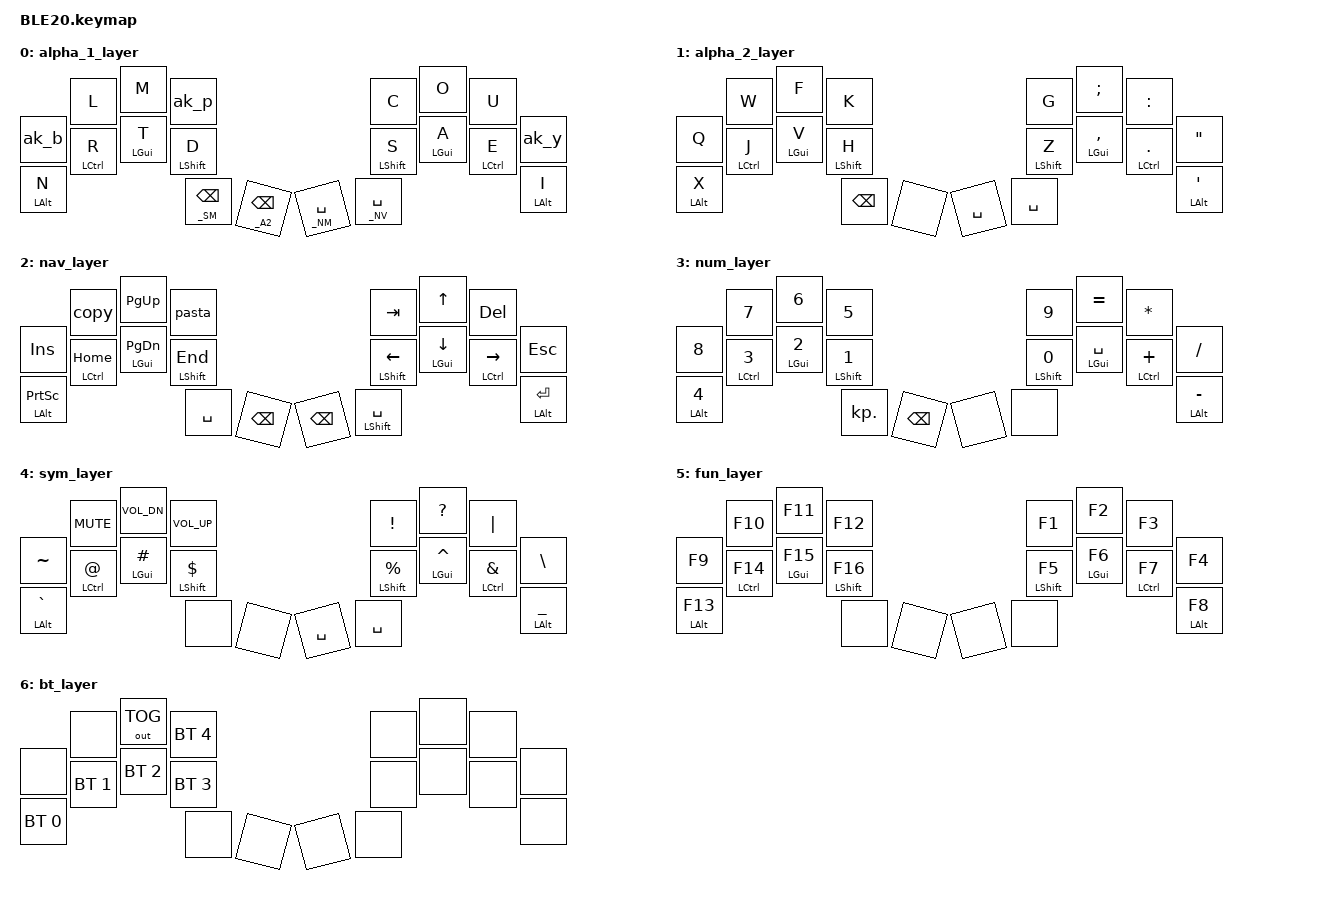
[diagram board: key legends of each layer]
/*
 * Copyright (c) 2021 The ZMK Contributors
 *
 * SPDX-License-Identifier: MIT
 */

#include <behaviors.dtsi>
#include <dt-bindings/zmk/keys.h>
#include <dt-bindings/zmk/bt.h>
#include <dt-bindings/zmk/outputs.h>
#include "keypos_20keys.h"
#include <dt-bindings/zmk/pointing.h>
#include <dt-bindings/zmk/mouse.h>


#define _A1      0
#define _A2      1
#define _NV      2
#define _NM      3
#define _SM      4
#define _FS      5
#define _BT      6


&sk {
    release-after-ms = <1000>;
    quick-release;
};

/ {
// ------------------------- MACROS --------------------------------
    macros {
        mlc_ou: macro_ou {
            compatible = "zmk,behavior-macro";
            #binding-cells = <0>;
            wait-ms = <0>;
            tap-ms = <5>;
            bindings
                = <&kp O>
                , <&kp U>
                ;
        };
    };

    combos {
        compatible = "zmk,combos";
// ------------------------- LAYER COMBOS --------------------------------
        combo_BOOT {
            timeout-ms = <40>;
            key-positions = <LOT LIT LTP LBP>;
            bindings = <&bootloader>;
        };

        combo_BT_CLR {
            timeout-ms = <40>;
            key-positions = <LTP LTR>;
            bindings = <&bt BT_CLR>;
            layers = <_BT>;
        };

        combo_BT {
            timeout-ms = <50>;
            key-positions = <LOT LIT>;
            bindings = <&mo _BT>;
            require-prior-idle-ms = <200>;
        };

        combo_UNLOCK {
            timeout-ms = <50>;
            key-positions = <ROT RIT>;
            bindings = <&studio_unlock>;
        };

        combo_FUN {
            timeout-ms = <50>;
            key-positions = <LIT RIT>;
            bindings = <&mo _FS>;
            require-prior-idle-ms = <200>;
        };

        combo_NAV {
            timeout-ms = <50>;
            key-positions = <RBI RBM RBR>;
            bindings = <&to _NV>;
            require-prior-idle-ms = <300>;
            layers = <_A1>;
        };

        combo_NUM {
            timeout-ms = <50>;
            key-positions = <LBI LBM LBR>;
            bindings = <&to _NM>;
            require-prior-idle-ms = <300>;
            layers = <_A1>;
        };

        combo_BASER {
            timeout-ms = <50>;
            key-positions = <RBI RBM RBR>;
            bindings = <&to _A1>;
            require-prior-idle-ms = <300>;
            layers = <_NV _NM>;
        };

        combo_BASEL {
            timeout-ms = <50>;
            key-positions = <LBI LBM LBR>;
            bindings = <&to _A1>;
            require-prior-idle-ms = <300>;
            layers = <_NV _NM>;
        };

// ------------------------- VOLUME COMBOS --------------------------------
        // combo_V_UP {
        //     timeout-ms = <40>;
        //     key-positions = <LTI LTM>;
        //     bindings = <&kp C_VOL_UP>;
        //     require-prior-idle-ms = <200>;
        //     layers = <_A1>;
        // };

        // combo_V_DN {
        //     timeout-ms = <40>;
        //     key-positions = <LBM LBI>;
        //     bindings = <&kp C_VOL_DN>;
        //     require-prior-idle-ms = <200>;
        //     layers = <_A1>;
        // };

        // combo_MUTE {
        //     timeout-ms = <50>;
        //     key-positions = <LTI LTM>;
        //     bindings = <&kp C_MUTE>;
        //     layers = <_SM>;
        // };

        // combo_ESC {
        //     timeout-ms = <50>;
        //     key-positions = <LTP LTR>;
        //     bindings = <&kp ESC>;
        //     require-prior-idle-ms = <200>;
        // };

        // combo_BSPC {
        //     timeout-ms = <50>;
        //     key-positions = <RBI RBM RBR>;
        //     bindings = <&kp BSPC>;
        //     layers = <_A1>;
        // };



// ------------------------- MODS COMBOS --------------------------------
        combo_CAPS {
            timeout-ms = <60>;
            key-positions = <LTI RTI>;
            bindings = <&caps_word>;
            require-prior-idle-ms = <250>;
            layers = <_A1 _A2>;
        };

        combo_SHIFT {
            timeout-ms = <60>;
            key-positions = <LBI RBI>;
            bindings = <&sk LSHIFT>;
            require-prior-idle-ms = <100>;
            layers = <_A1 _A2>;
        };

        // combo_RALTL {
        //     timeout-ms = <40>;
        //     key-positions = <LMP LTP>;
        //     bindings = <&kp RALT>;
        //     require-prior-idle-ms = <200>;
        //     //layers = <_BASE>;
        // };

        // combo_RALTR {
        //     timeout-ms = <40>;
        //     key-positions = <LMP RTP>;
        //     bindings = <&kp RALT>;
        //     require-prior-idle-ms = <200>;
        //     //layers = <_BASE>;
        // };

// ------------------------- CHARACTER COMBOS --------------------------------
        combo_OU {
            timeout-ms = <300>;
            key-positions = <RTM RTR>;
            bindings = <&mlc_ou>;
            layers = <_A1>;
        };

        combo_0 {
            timeout-ms = <55>;
            key-positions = <LBI LBM>;
            bindings = <&kp N0>;
            layers = <_NM>;
        };

        combo_9 {
            timeout-ms = <55>;
            key-positions = <LTI LTM>;
            bindings = <&kp N9>;
            layers = <_NM>;
        };

        // combo_THE {
        //     timeout-ms = <50>;
        //     key-positions = <LBI LBM LBR>;
        //     bindings = <&mm_the>;
        //     layers = <_A1>;
        // };

        // combo_COMMA {
        //     timeout-ms = <60>;
        //     key-positions = <RBM LIT>;
        //     bindings = <&kp COMMA>;
        //     layers = <_A1>;
        // };

        // combo_DOT {
        //     timeout-ms = <60>;
        //     key-positions = <RBR LIT>;
        //     bindings = <&kp DOT>;
        //     layers = <_A1>;
        // };

        // combo_QMARK {
        //     timeout-ms = <60>;
        //     key-positions = <RBP LIT>;
        //     bindings = <&kp QMARK>;
        //     layers = <_A1>;
        // };

        // combo_SEMI {
        //     timeout-ms = <60>;
        //     key-positions = <RTM LIT>;
        //     bindings = <&kp SEMI>;
        //     layers = <_A1>;
        // };

        // combo_COLON {
        //     timeout-ms = <60>;
        //     key-positions = <RTR LIT>;
        //     bindings = <&kp COLON>;
        //     layers = <_A1>;
        // };

        combo_MINUS {
            timeout-ms = <55>;
            key-positions = <RBM RBR>;
            bindings = <&kp MINUS>;
            layers = <_A1 _A2 _NM>;
        };

        combo_EXCL {
            timeout-ms = <50>;
            key-positions = <RTI RTM>;
            bindings = <&kp EXCL>;
            require-prior-idle-ms = <150>;
            layers = <_A1 _A2>;
        };

        combo_QMARK {
            timeout-ms = <50>;
            key-positions = <RBM RBI>;
            bindings = <&kp QMARK>;
            require-prior-idle-ms = <150>;
            layers = <_A1 _A2>;
        };

        combo_LPAR {
            timeout-ms = <60>;
            key-positions = <LBI LIT>;
            bindings = <&kp LPAR>;
            layers = <_A1>;
        };

        combo_RPAR {
            timeout-ms = <60>;
            key-positions = <RBI RIT>;
            bindings = <&kp RPAR>;
            layers = <_A1>;
        };

        combo_LBRC {
            timeout-ms = <60>;
            key-positions = <LBM LIT>;
            bindings = <&kp LBRC>;
            layers = <_A1>;
        };

        combo_RBRC {
            timeout-ms = <60>;
            key-positions = <RBM RIT>;
            bindings = <&kp RBRC>;
            layers = <_A1>;
        };

        combo_LBKT {
            timeout-ms = <60>;
            key-positions = <LBR LIT>;
            bindings = <&kp LBKT>;
            layers = <_A1>;
        };

        combo_RBKT {
            timeout-ms = <60>;
            key-positions = <RBR RIT>;
            bindings = <&kp RBKT>;
            layers = <_A1>;
        };

        combo_LT {
            timeout-ms = <60>;
            key-positions = <LBP LIT>;
            bindings = <&kp LT>;
            layers = <_A1>;
        };

        combo_GT {
            timeout-ms = <60>;
            key-positions = <RBP RIT>;
            bindings = <&kp GT>;
            layers = <_A1>;
        };

        // combo_PSCRN {
        //     timeout-ms = <40>;
        //     key-positions = <LBR LBI>;
        //     bindings = <&kp PSCRN>;
        //     layers = <_BASE _NAV>;
        //     require-prior-idle-ms = <200>;
        // };

        // combo_CP_M {
        //     timeout-ms = <40>;
        //     key-positions = <RTC RMC>;
        //     bindings = <&mac_cp>;
        //     layers = <_NAV>;
        //     require-prior-idle-ms = <200>;
        // };

        // combo_CP_W {
        //     timeout-ms = <40>;
        //     key-positions = <LTC LMC>;
        //     bindings = <&win_cp>;
        //     layers = <_NAV>;
        //     require-prior-idle-ms = <200>;
        // };

        // combo_PASTA_M {
        //     timeout-ms = <40>;
        //     key-positions = <RBM RBR>;
        //     bindings = <&kp LG(V)>;
        //     layers = <_BASE>;
        //     require-prior-idle-ms = <200>;
        // };

        // combo_PASTA_W {
        //     timeout-ms = <40>;
        //     key-positions = <LBM LBR>;
        //     bindings = <&kp LC(V)>;
        //     layers = <_BASE>;
        //     require-prior-idle-ms = <200>;
        // };

        // combo_FSLH {
        //     timeout-ms = <45>;
        //     key-positions = <RMM RMR>;
        //     bindings = <&kp FSLH>;
        //     layers = <_BASE _SYM>;
        // };

        // combo_BSLH {
        //     timeout-ms = <45>;
        //     key-positions = <LMR LMM>;
        //     bindings = <&kp BSLH>;
        //     layers = <_BASE _SYM>;
        // };
    };

    behaviors {
// ----------------------- ADAPTIVE-KEYS ------------------------------- 
        ak_bspc: ak_bspc {
            compatible = "zmk,behavior-adaptive-key";
            #binding-cells = <0>;
            bindings = <&sl _A2>;

            akt_bspc { trigger-keys = <BSPC>; max-prior-idle-ms = <250>; bindings = <&kp BSPC>; };
        };


        ak_d: ak_d {
            compatible = "zmk,behavior-adaptive-key";
            #binding-cells = <0>;
            bindings = <&kp D>;

            akt_th { trigger-keys = <T>; max-prior-idle-ms = <250>; bindings = <&kp H>; };
            akt_ch { trigger-keys = <C>; max-prior-idle-ms = <300>; bindings = <&kp H>; };
            akt_wh { trigger-keys = <W>; max-prior-idle-ms = <300>; bindings = <&kp H>; };
            akt_sh { trigger-keys = <S>; max-prior-idle-ms = <300>; bindings = <&kp H>; };
            akt_gh { trigger-keys = <G>; max-prior-idle-ms = <300>; bindings = <&kp H>; };

            akt_br { trigger-keys = <B>; max-prior-idle-ms = <300>; bindings = <&kp R>; };
        };

        ak_b: ak_b {
            compatible = "zmk,behavior-adaptive-key";
            #binding-cells = <0>;
            bindings = <&kp B>;

            akt_ph { trigger-keys = <P>; max-prior-idle-ms = <300>; bindings = <&kp H>; };

            akt_rv { trigger-keys = <R>; max-prior-idle-ms = <300>; bindings = <&kp V>; };
            akt_sv { trigger-keys = <S>; max-prior-idle-ms = <300>; bindings = <&kp V>; };
            akt_dv { trigger-keys = <D>; max-prior-idle-ms = <300>; bindings = <&kp V>; };
            akt_tv { trigger-keys = <T>; max-prior-idle-ms = <300>; bindings = <&kp V>; };
            akt_kv { trigger-keys = <K>; max-prior-idle-ms = <300>; bindings = <&kp V>; };
        };

        ak_r: ak_r {
            compatible = "zmk,behavior-adaptive-key";
            #binding-cells = <0>;
            bindings = <&kp R>;

            akt_ng { trigger-keys = <N>; max-prior-idle-ms = <300>; bindings = <&kp G>; };

            akt_sk { trigger-keys = <S>; max-prior-idle-ms = <300>; bindings = <&kp K>; };
        };

        ak_t: ak_t {
            compatible = "zmk,behavior-adaptive-key";
            #binding-cells = <0>;
            bindings = <&kp T>;

            akt_dz { trigger-keys = <D>; max-prior-idle-ms = <300>; bindings = <&kp Z>; };
        };

        ak_p: ak_p {
            compatible = "zmk,behavior-adaptive-key";
            #binding-cells = <0>;
            bindings = <&kp P>;

            akt_nk { trigger-keys = <N>; max-prior-idle-ms = <300>; bindings = <&kp K>; };
            akt_lk { trigger-keys = <L>; max-prior-idle-ms = <300>; bindings = <&kp K>; };
            akt_ck { trigger-keys = <C>; max-prior-idle-ms = <300>; bindings = <&kp K>; };
            akt_tk { trigger-keys = <T>; max-prior-idle-ms = <300>; bindings = <&kp K>; };
            akt_rk { trigger-keys = <R>; max-prior-idle-ms = <300>; bindings = <&kp K>; };

            akt_kl { trigger-keys = <K>; max-prior-idle-ms = <300>; bindings = <&kp L>; };
            akt_gl { trigger-keys = <G>; max-prior-idle-ms = <300>; bindings = <&kp L>; };

            akt_bn { trigger-keys = <B>; max-prior-idle-ms = <300>; bindings = <&kp N>; };
        };

        ak_y: ak_y {
            compatible = "zmk,behavior-adaptive-key";
            #binding-cells = <0>;
            bindings = <&kp Y>;

            akt_ue { trigger-keys = <U>; max-prior-idle-ms = <300>; bindings = <&kp E>; };
        };

// ------------------------- TAP-DANCES --------------------------------
        copy: copy {
            compatible = "zmk,behavior-tap-dance";
            #binding-cells = <0>;
            tapping-term-ms = <300>;
            bindings = <&kp LG(C)>, <&kp LC(C)>;
        };

        pasta: pasta {
            compatible = "zmk,behavior-tap-dance";
            #binding-cells = <0>;
            tapping-term-ms = <300>;
            bindings = <&kp LG(V)>, <&kp LC(V)>;
        };

// ------------------------- HOLD-TAPS --------------------------------
        /* left-hand HRMs */
        hml: hrm_left {
            compatible = "zmk,behavior-hold-tap";
            #binding-cells = <2>;
            flavor = "tap-preferred";
            tapping-term-ms = <300>;
            quick-tap-ms = <170>;                // repeat on tap-into-hold
            require-prior-idle-ms = <120>;
            bindings = <&kp>, <&kp>;
            hold-trigger-key-positions = <KEYS_R THUMBS>;
            hold-trigger-on-release;             // delay positional check until key-release
        };

        /* right-hand HRMs */
        hmr: hrm_right {
            compatible = "zmk,behavior-hold-tap";
            #binding-cells = <2>;
            flavor = "tap-preferred";
            tapping-term-ms = <300>;
            quick-tap-ms = <170>;                // repeat on tap-into-hold
            require-prior-idle-ms = <120>;
            bindings = <&kp>, <&kp>;
            hold-trigger-key-positions = <KEYS_L THUMBS>;
            hold-trigger-on-release;             // delay positional check until key-release
        };

        rml: akr_left {
            compatible = "zmk,behavior-hold-tap";
            #binding-cells = <2>;
            flavor = "tap-preferred";
            tapping-term-ms = <300>;
            quick-tap-ms = <170>;                // repeat on tap-into-hold
            require-prior-idle-ms = <120>;
            bindings = <&kp>, <&ak_r>;
            hold-trigger-key-positions = <KEYS_R THUMBS>;
            hold-trigger-on-release;             // delay positional check until key-release
        };

        tml: akt_left {
            compatible = "zmk,behavior-hold-tap";
            #binding-cells = <2>;
            flavor = "tap-preferred";
            tapping-term-ms = <300>;
            quick-tap-ms = <170>;                // repeat on tap-into-hold
            require-prior-idle-ms = <120>;
            bindings = <&kp>, <&ak_t>;
            hold-trigger-key-positions = <KEYS_R THUMBS>;
            hold-trigger-on-release;             // delay positional check until key-release
        };

        asl: aks_left {
            compatible = "zmk,behavior-hold-tap";
            #binding-cells = <2>;
            flavor = "balanced";
            tapping-term-ms = <300>;
            quick-tap-ms = <170>;                // repeat on tap-into-hold
            // require-prior-idle-ms = <100>;
            bindings = <&kp>, <&ak_d>;
            hold-trigger-key-positions = <KEYS_R THUMBS>;
            hold-trigger-on-release;             // delay positional check until key-release
        };

        hsl: hrs_left {
            compatible = "zmk,behavior-hold-tap";
            #binding-cells = <2>;
            flavor = "balanced";
            tapping-term-ms = <300>;
            quick-tap-ms = <170>;                // repeat on tap-into-hold
            // require-prior-idle-ms = <100>;
            bindings = <&kp>, <&kp>;
            hold-trigger-key-positions = <KEYS_R THUMBS>;
            hold-trigger-on-release;             // delay positional check until key-release
        };

        hsr: hrs_right {
            compatible = "zmk,behavior-hold-tap";
            #binding-cells = <2>;
            flavor = "balanced";
            tapping-term-ms = <300>;
            quick-tap-ms = <170>;                // repeat on tap-into-hold
            // require-prior-idle-ms = <100>;
            bindings = <&kp>, <&kp>;
            hold-trigger-key-positions = <KEYS_L THUMBS>;
            hold-trigger-on-release;             // delay positional check until key-release
        };

        tht: thumb_holdtap {
            compatible = "zmk,behavior-hold-tap";
            #binding-cells = <2>;
            flavor = "tap-preferred";
            tapping-term-ms = <250>;
            quick-tap-ms = <170>;                // repeat on tap-into-hold
            bindings = <&kp>, <&kp>;
        };

        bst: backspace-tap {
            compatible = "zmk,behavior-hold-tap";
            #binding-cells = <2>;
            flavor = "hold-preferred";
            tapping-term-ms = <200>;
            quick-tap-ms = <170>;
            //require-prior-idle-ms = <100>;
            bindings = <&mo>, <&kp>;
        };

        spt: space-tap {
            compatible = "zmk,behavior-hold-tap";
            #binding-cells = <2>;
            flavor = "balanced";
            tapping-term-ms = <250>;
            quick-tap-ms = <170>;
            //require-prior-idle-ms = <100>;
            bindings = <&mo>, <&kp>;
        };

// ------------------------- MOD-MORPHS --------------------------------
        // com_sem: comma_semicolon {
        //     compatible = "zmk,behavior-mod-morph";
        //     #binding-cells = <0>;
        //     bindings = <&kp COMMA>, <&kp SEMI>;
        //     mods = <(MOD_LSFT)>;
        // };

        // dot_col: dot_colon {
        //     compatible = "zmk,behavior-mod-morph";
        //     #binding-cells = <0>;
        //     bindings = <&kp DOT>, <&kp COLON>;
        //     mods = <(MOD_LSFT)>;
        // };

        // mm_you: mm_you {
        //     compatible = "zmk,behavior-mod-morph";
        //     #binding-cells = <0>;
        //     bindings = <&mlc_you>, <&muc_you>;
        //     mods = <(MOD_LSFT)>;
        // };

        // mm_the: mm_the {
        //     compatible = "zmk,behavior-mod-morph";
        //     #binding-cells = <0>;
        //     bindings = <&mlc_the>, <&muc_the>;
        //     mods = <(MOD_LSFT)>;
        // };
        
    };

    keymap {
        compatible = "zmk,keymap";

                alpha_1_layer{
// -------------------------------    -------------------------------
// |  B  |  L  |  M  |  P  |                |  C  |  O  |  U  |  Y  |
// |  N  |  R  |  T  |  D  |                |  S  |  A  |  E  |  I  |
//       | _SM(BSPC) | _A2(BSPC) |    | _NM(SPC) | _NV(SPC) |
                        bindings = <
   &ak_b       &kp L        &kp M       &ak_p             &kp C        &kp O       &kp U        &ak_y
   &hml LALT N &rml LCTRL R &tml LGUI T &asl LSHFT D      &hsr LSHFT S &hmr LGUI A &hmr LCTRL E &hmr LALT I 
                    &bst _SM BSPC  &bst _A2 BSPC          &spt _NM SPACE  &spt _NV SPACE
                        >;
                };
                        //  &bst _SM BSPC  &bst _A2 BSPC     &spt _NM SPACE  &spt _NV RET


                alpha_2_layer{
// -------------------------------    -------------------------------
// |  Q  |  W  |  F  |  K  |                |  G  |  ;  |  :  |  "  |
// |  X  |  J  |  V  |  H  |                |  Z  |  ,  |  .  |  '  |
//                  | BSPC |     |    | SPC | SPC |
                        bindings = <
   &kp Q       &kp W        &kp F       &kp K             &kp G        &kp SEMI        &kp COLON      &kp DQT
   &hml LALT X &hml LCTRL J &hml LGUI V &hsl LSHFT H      &hsr LSHFT Z &hmr LGUI COMMA &hmr LCTRL DOT &hmr LALT SQT
                            &kp BSPC    &none             &kp SPACE    &kp SPACE
                        >;
                };

                nav_layer {
// ---------------------------------    ---------------------------------
// | INS | COPY | PGUP | PASTA |             | TAB  |  UP  | DEL  | ESC |
// | PSC | HOME | PGDN |  END  |             | LEFT | DOWN | RGHT | RET |
//                   | SPC  | BSPC |    | BSPC | LS(SPC) |
                        bindings = <
   &kp INS         &copy           &kp PG_UP       &pasta           &kp TAB          &kp UP         &kp DEL          &kp ESC
   &hml LALT PSCRN &hml LCTRL HOME &hml LGUI PG_DN &hml LSHFT END   &hmr LSHFT LEFT  &hmr LGUI DOWN &hmr LCTRL RIGHT &hmr LALT RET
                                   &kp SPACE       &kp BSPC         &kp BSPC         &tht LSHFT SPACE
                        >;
                };
                
                num_layer {
// -------------------------------    --------------------------------
// |  8  |  7  |  6  |  5  |                |  9  |  =  |  *  |  /  |
// |  4  |  3  |  2  |  1  |                |  0  | SPC |  +  |  -  |
//                  | . , | BSPC |    |     |     |
                        bindings = <
   &kp N8       &kp N7        &kp N6       &kp N5             &kp N9        &kp EQUAL       &kp STAR        &kp SLASH
   &hml LALT N4 &hml LCTRL N3 &hml LGUI N2 &hml LSHFT N1      &hmr LSHFT N0 &hmr LGUI SPACE &hmr LCTRL PLUS &hmr LALT MINUS
                              &kp KP_DOT   &kp BSPC           &none     &none
                        >;
                };

                sym_layer {
// -------------------------------    -------------------------------
// |  ~  |  V. |  V- |  V+ |                |  !  |  ?  |  |  |  \  |
// |  `  |  @  |  #  |  $  |                |  %  |  ^  |  &  |  _  |
//                   |     |     |    | SPC | BSPC |
                        bindings = <
   &kp TILDE       &kp C_MUTE    &kp C_VOL_DN   &kp C_VOL_UP         &kp EXCL         &kp QMARK       &kp PIPE        &kp BSLH
   &hml LALT GRAVE &hml LCTRL AT &hml LGUI HASH &hml LSHFT DLLR      &hmr LSHFT PRCNT &hmr LGUI CARET &hmr LCTRL AMPS &hmr LALT UNDER
                                                &none    &none       &kp SPACE     &kp SPACE
                        >;
                };

                fun_layer {
// -------------------------------    ---------------------------
// | F9  | F10 | F11 | F12 |                | F1 | F2 | F3 | F4 |
// | F13 | F14 | F15 | F16 |                | F5 | F6 | F7 | F8 |
//                   |     |     |    |     |     |
                        bindings = <
   &kp F9        &kp F10        &kp F11       &kp F12             &kp F1         &kp F2       &kp F3        &kp F4             
   &hml LALT F13 &hml LCTRL F14 &hml LGUI F15 &hml LSHFT F16      &hml LSHFT F5 &hml LGUI F6 &hml LCTRL F7 &hml LALT F8
                                                &none  &none      &none  &none
                        >;
                };

                bt_layer {
// -------------------------    ---------------------
// |    CLR    | OUT | BT5 |    |    |    |    |    |
// | BT1 | BT2 | BT3 | BT4 |    |    |    |    |    |
//             |     |     |    |    |    |
                        bindings = <
   &none        &none        &out OUT_TOG &bt BT_SEL 4        &none  &none  &none  &none
   &bt BT_SEL 0 &bt BT_SEL 1 &bt BT_SEL 2 &bt BT_SEL 3        &none  &none  &none  &none
                                          &none  &none        &none  &none
                        >;
                };                

    };
};


/// /delete-node/ &gd25q16;
